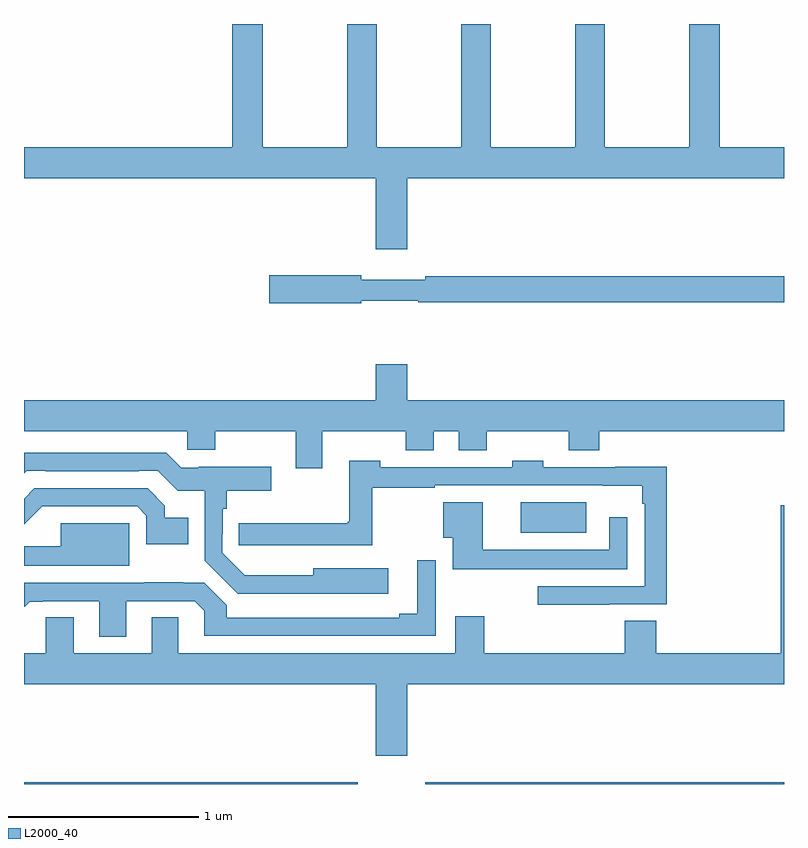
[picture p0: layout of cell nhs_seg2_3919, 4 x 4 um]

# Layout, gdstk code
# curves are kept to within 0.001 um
import gdstk
lib = gdstk.Library(unit=1e-6, precision=1e-09)
def R(c, l, rs):  # rectangles x0, y0, x1, y1
    for r in rs: c.add(gdstk.rectangle(r[:2], r[2:], *l))
def P(c, l, *ps):  # polygons
    for p in ps: c.add(gdstk.Polygon(p, *l))
L2000_40 = (2000, 40)

nhs_seg2_3919 = lib.new_cell('nhs_seg2_3919')
R(nhs_seg2_3919, L2000_40, [(319,625.8,320.756,625.808), (321.112,625.8,323,625.808), (321.615,627.122,321.958,627.283)])
P(nhs_seg2_3919, L2000_40, [(321.016,628.988),(323,628.988),(323,629.152),(322.661,629.152),(322.661,629.8),(322.501,629.8),(322.501,629.152),(322.056,629.152),(322.056,629.8),(321.901,629.8),(321.901,629.152),(321.456,629.152),(321.456,629.8),(321.301,629.8),(321.301,629.152),(320.856,629.152),(320.856,629.8),(320.701,629.8),(320.701,629.152),(320.256,629.152),(320.256,629.8),(320.096,629.8),(320.096,629.152),(319,629.152),(319,628.988),(320.852,628.988),(320.852,628.614),(321.016,628.614)],
  [(320.776,628.344),(321.076,628.344),(321.076,628.336),(323,628.336),(323,628.472),(321.112,628.472),(321.112,628.453),(320.776,628.453),(320.776,628.478),(320.292,628.478),(320.292,628.331),(320.776,628.331)],
  [(320.569,627.656),(321.01,627.656),(321.01,627.557),(321.157,627.557),(321.157,627.656),(321.287,627.656),(321.287,627.557),(321.435,627.557),(321.435,627.656),(321.868,627.656),(321.868,627.557),(322.028,627.557),(322.028,627.656),(323,627.656),(323,627.82),(321.016,627.82),(321.016,628.009),(320.852,628.009),(320.852,627.82),(319,627.82),(319,627.656),(319.86,627.656),(319.86,627.558),(320.007,627.558),(320.007,627.656),(320.429,627.656),(320.429,627.462),(320.569,627.462)],
  [(320.917,626.935),(320.522,626.935),(320.522,626.899),(320.163,626.899),(320.043,627.018),(320.043,627.118),(320.046,627.118),(320.046,627.248),(320.066,627.248),(320.066,627.344),(320.302,627.344),(320.302,627.469),(319.921,627.469),(319.921,627.465),(319.827,627.465),(319.748,627.544),(319,627.544),(319,627.436),(319.014,627.45),(319.114,627.45),(319.114,627.447),(319.604,627.447),(319.604,627.45),(319.704,627.45),(319.81,627.344),(319.95,627.344),(319.95,626.976),(320.125,626.801),(320.917,626.801)],
  [(322.079,626.745),(322.382,626.745),(322.382,627.47),(322.111,627.47),(322.111,627.468),(321.734,627.468),(321.734,627.502),(321.569,627.502),(321.569,627.468),(320.876,627.468),(320.876,627.502),(320.712,627.502),(320.712,627.18),(320.704,627.18),(320.704,627.172),(320.131,627.172),(320.131,627.056),(320.833,627.056),(320.833,627.36),(321.161,627.36),(321.161,627.372),(322.045,627.372),(322.045,627.371),(322.254,627.371),(322.254,627.275),(322.266,627.275),(322.266,626.841),(321.705,626.841),(321.705,626.743),(322.079,626.743)],
  [(319.865,627.202),(319.742,627.202),(319.742,627.265),(319.65,627.357),(319.055,627.357),(319,627.302),(319,627.166),(319.095,627.261),(319.596,627.261),(319.644,627.213),(319.644,627.062),(319.865,627.062)],
  [(322.176,627.205),(322.08,627.205),(322.08,627.034),(321.415,627.034),(321.415,627.283),(321.206,627.283),(321.206,627.097),(321.257,627.097),(321.257,626.93),(322.176,626.93)],
  [(321.016,626.324),(323,626.324),(323,627.268),(322.982,627.268),(322.982,626.488),(322.328,626.488),(322.328,626.66),(322.163,626.66),(322.163,626.488),(321.422,626.488),(321.422,626.683),(321.269,626.683),(321.269,626.488),(319.813,626.488),(319.813,626.678),(319.673,626.678),(319.673,626.488),(319.261,626.488),(319.261,626.678),(319.114,626.678),(319.114,626.488),(319,626.488),(319,626.324),(320.852,626.324),(320.852,625.95),(321.016,625.95)],
  [(319.555,627.172),(319.193,627.172),(319.193,627.052),(319,627.052),(319,626.948),(319.555,626.948)],
  [(319.537,626.763),(319.899,626.763),(319.949,626.713),(319.949,626.58),(321.168,626.58),(321.168,626.977),(321.071,626.977),(321.071,626.696),(320.975,626.696),(320.975,626.676),(320.066,626.676),(320.066,626.74),(319.948,626.858),(319.838,626.858),(319.838,626.861),(319.633,626.861),(319.633,626.859),(319,626.859),(319,626.732),(319.003,626.732),(319.029,626.758),(319.099,626.758),(319.099,626.763),(319.397,626.763),(319.397,626.574),(319.537,626.574)])

lib.write_gds('nhs_seg2_3919.gds')
